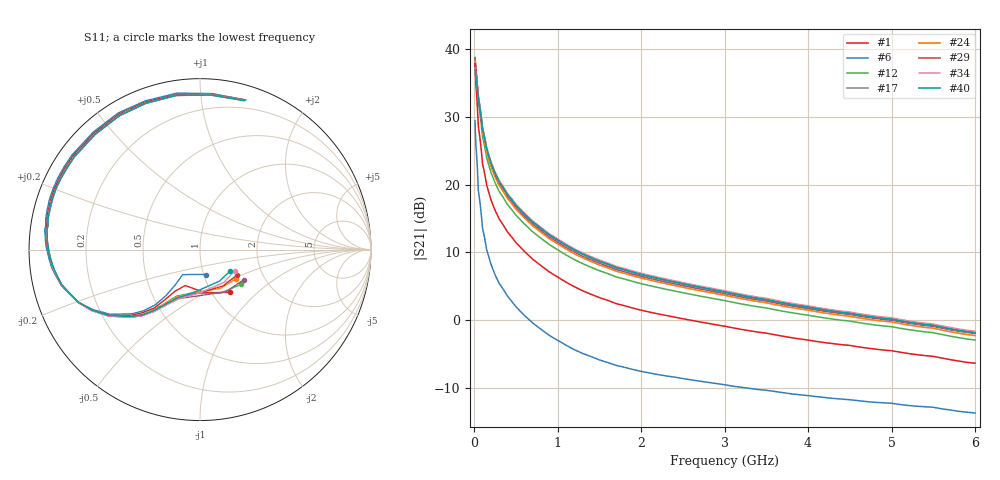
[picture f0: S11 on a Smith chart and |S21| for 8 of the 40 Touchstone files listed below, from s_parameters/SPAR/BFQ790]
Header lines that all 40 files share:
! Infineon Technologies  Discrete & RF Semiconductors
! BFQ790
! Common Emitter S-Parameters:  May 2015
# GHz  S  MA  R  50
!  f  S11  S21  S12  S22
! GHz  MAG  ANG  MAG  ANG  MAG  ANG  MAG  ANG
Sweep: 10 MHz to 6 GHz
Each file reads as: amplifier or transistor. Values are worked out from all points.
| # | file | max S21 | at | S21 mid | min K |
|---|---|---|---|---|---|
| 1 | BFQ790_VCE_1.0V_IC_0.32A.s2p | 37.9 dB | 10 MHz | 0.9 dB at 2.2 GHz | 0.25 |
| 2 | BFQ790_VCE_1.0V_IC_0.34A.s2p | 37.4 dB | 10 MHz | 0.4 dB at 2.2 GHz | 0.29 |
| 3 | BFQ790_VCE_1.0V_IC_0.36A.s2p | 36.7 dB | 10 MHz | -0.5 dB at 2.2 GHz | 0.38 |
| 4 | BFQ790_VCE_1.0V_IC_0.38A.s2p | 35.4 dB | 10 MHz | -1.8 dB at 2.2 GHz | 0.51 |
| 5 | BFQ790_VCE_1.0V_IC_0.40A.s2p | 33.2 dB | 10 MHz | -4.1 dB at 2.2 GHz | 0.77 |
| 6 | BFQ790_VCE_1.0V_IC_0.42A.s2p | 29.5 dB | 10 MHz | -8.0 dB at 2.2 GHz | 1.46 |
| 7 | BFQ790_VCE_1.0V_IC_0.44A.s2p | 23.4 dB | 10 MHz | -12.5 dB at 2.2 GHz | 2.79 |
| 8 | BFQ790_VCE_1.0V_IC_0.45A.s2p | 20.0 dB | 10 MHz | -14.4 dB at 2.2 GHz | 3.70 |
| 9 | BFQ790_VCE_2.0V_IC_0.32A.s2p | 39.0 dB | 10 MHz | 4.9 dB at 2.2 GHz | 0.14 |
| 10 | BFQ790_VCE_2.0V_IC_0.34A.s2p | 39.0 dB | 10 MHz | 4.9 dB at 2.2 GHz | 0.14 |
| 11 | BFQ790_VCE_2.0V_IC_0.36A.s2p | 38.9 dB | 10 MHz | 4.9 dB at 2.2 GHz | 0.14 |
| 12 | BFQ790_VCE_2.0V_IC_0.38A.s2p | 38.9 dB | 10 MHz | 4.8 dB at 2.2 GHz | 0.15 |
| 13 | BFQ790_VCE_2.0V_IC_0.40A.s2p | 38.8 dB | 10 MHz | 4.7 dB at 2.2 GHz | 0.16 |
| 14 | BFQ790_VCE_2.0V_IC_0.42A.s2p | 38.7 dB | 10 MHz | 4.6 dB at 2.2 GHz | 0.17 |
| 15 | BFQ790_VCE_2.0V_IC_0.44A.s2p | 38.6 dB | 10 MHz | 4.5 dB at 2.2 GHz | 0.18 |
| 16 | BFQ790_VCE_2.0V_IC_0.45A.s2p | 38.5 dB | 10 MHz | 4.4 dB at 2.2 GHz | 0.19 |
| 17 | BFQ790_VCE_3.0V_IC_0.32A.s2p | 38.7 dB | 10 MHz | 5.9 dB at 2.2 GHz | 0.14 |
| 18 | BFQ790_VCE_3.0V_IC_0.34A.s2p | 38.7 dB | 10 MHz | 5.9 dB at 2.2 GHz | 0.14 |
| 19 | BFQ790_VCE_3.0V_IC_0.36A.s2p | 38.6 dB | 10 MHz | 5.9 dB at 2.2 GHz | 0.13 |
| 20 | BFQ790_VCE_3.0V_IC_0.38A.s2p | 38.6 dB | 10 MHz | 5.8 dB at 2.2 GHz | 0.16 |
| 21 | BFQ790_VCE_3.0V_IC_0.40A.s2p | 38.5 dB | 10 MHz | 5.8 dB at 2.2 GHz | 0.14 |
| 22 | BFQ790_VCE_3.0V_IC_0.42A.s2p | 38.4 dB | 10 MHz | 5.8 dB at 2.2 GHz | 0.16 |
| 23 | BFQ790_VCE_3.0V_IC_0.44A.s2p | 38.3 dB | 10 MHz | 5.7 dB at 2.2 GHz | 0.17 |
| 24 | BFQ790_VCE_3.0V_IC_0.45A.s2p | 38.3 dB | 10 MHz | 5.6 dB at 2.2 GHz | 0.16 |
| 25 | BFQ790_VCE_4.0V_IC_0.32A.s2p | 38.2 dB | 10 MHz | 6.2 dB at 2.2 GHz | 0.25 |
| 26 | BFQ790_VCE_4.0V_IC_0.34A.s2p | 38.2 dB | 10 MHz | 6.2 dB at 2.2 GHz | 0.23 |
| 27 | BFQ790_VCE_4.0V_IC_0.36A.s2p | 38.1 dB | 10 MHz | 6.2 dB at 2.2 GHz | 0.20 |
| 28 | BFQ790_VCE_4.0V_IC_0.38A.s2p | 38.1 dB | 10 MHz | 6.2 dB at 2.2 GHz | 0.21 |
| 29 | BFQ790_VCE_4.0V_IC_0.40A.s2p | 38.0 dB | 10 MHz | 6.1 dB at 2.2 GHz | 0.19 |
| 30 | BFQ790_VCE_4.0V_IC_0.42A.s2p | 37.9 dB | 10 MHz | 6.1 dB at 2.2 GHz | 0.20 |
| 31 | BFQ790_VCE_4.0V_IC_0.44A.s2p | 37.8 dB | 10 MHz | 6.1 dB at 2.2 GHz | 0.21 |
| 32 | BFQ790_VCE_4.0V_IC_0.45A.s2p | 37.7 dB | 10 MHz | 6.0 dB at 2.2 GHz | 0.19 |
| 33 | BFQ790_VCE_5.0V_IC_0.32A.s2p | 37.2 dB | 10 MHz | 6.4 dB at 2.2 GHz | 0.54 |
| 34 | BFQ790_VCE_5.0V_IC_0.34A.s2p | 37.2 dB | 10 MHz | 6.4 dB at 2.2 GHz | 0.52 |
| 35 | BFQ790_VCE_5.0V_IC_0.36A.s2p | 37.2 dB | 10 MHz | 6.3 dB at 2.2 GHz | 0.50 |
| 36 | BFQ790_VCE_5.0V_IC_0.38A.s2p | 37.2 dB | 10 MHz | 6.3 dB at 2.2 GHz | 0.46 |
| 37 | BFQ790_VCE_5.0V_IC_0.40A.s2p | 37.2 dB | 10 MHz | 6.3 dB at 2.2 GHz | 0.44 |
| 38 | BFQ790_VCE_5.0V_IC_0.42A.s2p | 37.2 dB | 10 MHz | 6.3 dB at 2.2 GHz | 0.38 |
| 39 | BFQ790_VCE_5.0V_IC_0.44A.s2p | 37.1 dB | 10 MHz | 6.2 dB at 2.2 GHz | 0.37 |
| 40 | BFQ790_VCE_5.0V_IC_0.45A.s2p | 37.0 dB | 10 MHz | 6.2 dB at 2.2 GHz | 0.39 |

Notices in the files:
internship_Nexedi/test_ampli_simple/transistor/BFQ790/s_parameters/SPAR/BFQ790/BFQ790_VCE_1.0V_IC_0.32A.s2p:
(c) 2015  Infineon Technologies AG, Munich
